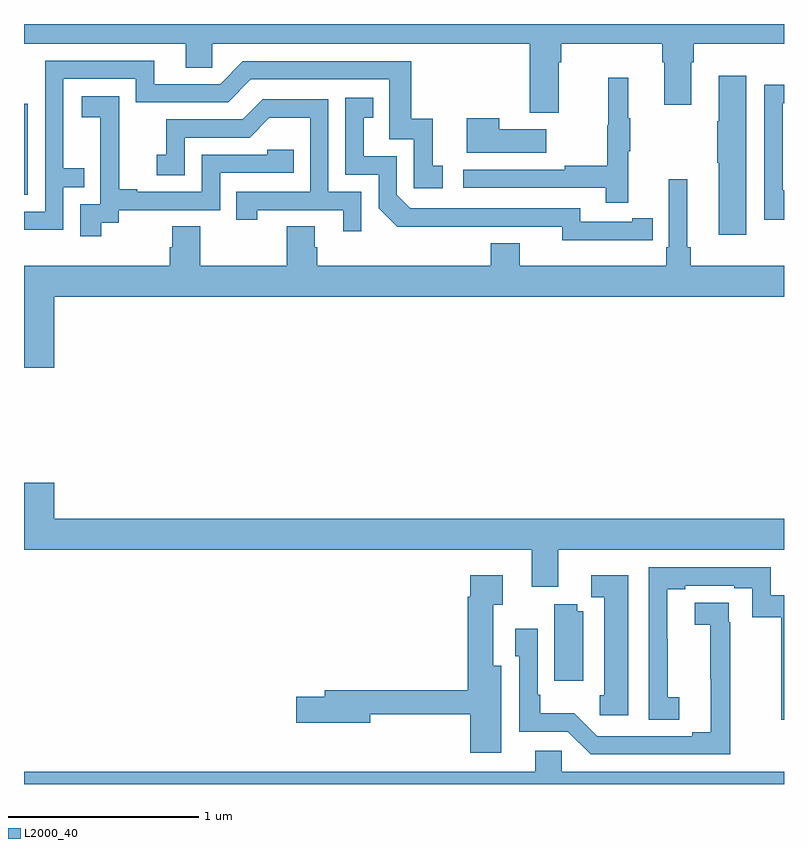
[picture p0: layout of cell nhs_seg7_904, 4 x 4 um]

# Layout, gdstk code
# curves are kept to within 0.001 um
import gdstk
lib = gdstk.Library(unit=1e-6, precision=1e-09)
def R(c, l, rs):  # rectangles x0, y0, x1, y1
    for r in rs: c.add(gdstk.rectangle(r[:2], r[2:], *l))
def P(c, l, *ps):  # polygons
    for p in ps: c.add(gdstk.Polygon(p, *l))
L2000_40 = (2000, 40)

nhs_seg7_904 = lib.new_cell('nhs_seg7_904')
R(nhs_seg7_904, L2000_40, [(177,1053.102,177.021,1053.579)])
P(nhs_seg7_904, L2000_40, [(179.815,1053.8),(179.828,1053.8),(179.828,1053.896),(180.359,1053.896),(180.359,1053.8),(180.371,1053.8),(180.371,1053.576),(180.511,1053.576),(180.511,1053.8),(180.524,1053.8),(180.524,1053.896),(181,1053.896),(181,1054),(177,1054),(177,1053.896),(177.851,1053.896),(177.851,1053.769),(177.99,1053.769),(177.99,1053.896),(179.663,1053.896),(179.663,1053.534),(179.815,1053.534)],
  [(177.207,1053.141),(177.317,1053.141),(177.317,1053.242),(177.207,1053.242),(177.207,1053.711),(177.588,1053.711),(177.588,1053.588),(178.074,1053.588),(178.194,1053.708),(178.923,1053.708),(178.923,1053.393),(179.052,1053.393),(179.052,1053.135),(179.203,1053.135),(179.203,1053.255),(179.15,1053.255),(179.15,1053.502),(179.039,1053.502),(179.039,1053.804),(178.152,1053.804),(178.032,1053.684),(177.685,1053.684),(177.685,1053.807),(177.111,1053.807),(177.111,1053.012),(177,1053.012),(177,1052.916),(177.207,1052.916)],
  [(180.802,1053.727),(180.656,1053.727),(180.656,1053.488),(180.649,1053.488),(180.649,1053.271),(180.656,1053.271),(180.656,1052.892),(180.802,1052.892)],
  [(180.179,1053.331),(180.19,1053.331),(180.19,1053.505),(180.179,1053.505),(180.179,1053.718),(180.076,1053.718),(180.076,1053.468),(180.069,1053.468),(180.069,1053.254),(179.845,1053.254),(179.845,1053.234),(179.313,1053.234),(179.313,1053.138),(180.061,1053.138),(180.061,1053.06),(180.179,1053.06)],
  [(181,1053.126),(180.993,1053.126),(180.993,1053.582),(181,1053.582),(181,1053.68),(180.897,1053.68),(180.897,1052.97),(181,1052.97)],
  [(177.406,1052.953),(177.498,1052.953),(177.498,1053.021),(178.032,1053.021),(178.032,1053.216),(178.421,1053.216),(178.421,1053.339),(178.281,1053.339),(178.281,1053.312),(177.936,1053.312),(177.936,1053.117),(177.595,1053.117),(177.595,1053.13),(177.5,1053.13),(177.5,1053.413),(177.501,1053.413),(177.501,1053.619),(177.303,1053.619),(177.303,1053.509),(177.401,1053.509),(177.401,1053.281),(177.402,1053.281),(177.402,1053.051),(177.297,1053.051),(177.297,1052.883),(177.406,1052.883)],
  [(180.2,1052.862),(180.308,1052.862),(180.308,1052.978),(180.2,1052.978),(180.2,1052.958),(179.928,1052.958),(179.928,1053.03),(179.034,1053.03),(178.962,1053.102),(178.962,1053.303),(178.789,1053.303),(178.789,1053.507),(178.838,1053.507),(178.838,1053.613),(178.692,1053.613),(178.692,1053.207),(178.866,1053.207),(178.866,1053.03),(178.964,1052.933),(179.832,1052.934),(179.832,1052.861)],
  [(178.776,1053.117),(178.602,1053.117),(178.602,1053.603),(178.256,1053.603),(178.151,1053.498),(177.748,1053.498),(177.748,1053.313),(177.699,1053.313),(177.699,1053.204),(177.846,1053.204),(177.846,1053.402),(178.188,1053.402),(178.292,1053.506),(178.506,1053.506),(178.506,1053.117),(178.117,1053.117),(178.117,1052.97),(178.228,1052.97),(178.228,1053.021),(178.679,1053.021),(178.679,1052.91),(178.776,1052.91)],
  [(179.749,1053.445),(179.501,1053.445),(179.501,1053.505),(179.33,1053.505),(179.33,1053.323),(179.749,1053.323)],
  [(181,1052.728),(180.509,1052.728),(180.509,1052.824),(180.49,1052.824),(180.49,1053.184),(180.393,1053.184),(180.393,1052.824),(180.38,1052.824),(180.38,1052.728),(179.608,1052.728),(179.608,1052.845),(179.456,1052.845),(179.456,1052.728),(178.544,1052.728),(178.544,1052.826),(178.531,1052.826),(178.531,1052.936),(178.384,1052.936),(178.384,1052.728),(177.927,1052.728),(177.927,1052.936),(177.779,1052.936),(177.779,1052.826),(177.767,1052.826),(177.767,1052.728),(177,1052.728),(177,1052.19),(177.16,1052.19),(177.16,1052.564),(181,1052.564)],
  [(179.812,1051.232),(181,1051.232),(181,1051.396),(177.16,1051.396),(177.16,1051.585),(177,1051.585),(177,1051.232),(179.672,1051.232),(179.672,1051.038),(179.812,1051.038)],
  [(180.448,1050.457),(180.387,1050.457),(180.387,1050.761),(180.385,1050.761),(180.385,1051.024),(180.481,1051.024),(180.481,1051.044),(180.737,1051.044),(180.737,1051.03),(180.834,1051.03),(180.834,1050.877),(180.985,1050.877),(180.985,1050.339),(181,1050.339),(181,1050.994),(180.93,1050.994),(180.93,1051.14),(180.288,1051.14),(180.288,1050.337),(180.448,1050.337)],
  [(180.181,1051.099),(179.985,1051.099),(179.985,1050.984),(180.053,1050.984),(180.053,1050.468),(180.031,1050.468),(180.031,1050.363),(180.181,1050.363)],
  [(179.512,1050.622),(179.47,1050.622),(179.47,1050.943),(179.521,1050.943),(179.521,1051.099),(179.348,1051.099),(179.348,1050.986),(179.336,1050.986),(179.336,1050.494),(178.583,1050.494),(178.583,1050.458),(178.434,1050.458),(178.434,1050.323),(178.822,1050.323),(178.822,1050.366),(179.348,1050.366),(179.348,1050.165),(179.512,1050.165)],
  [(180.716,1050.851),(180.71,1050.851),(180.71,1050.953),(180.531,1050.953),(180.531,1050.838),(180.613,1050.838),(180.614,1050.272),(180.518,1050.272),(180.518,1050.252),(180.018,1050.252),(179.897,1050.373),(179.716,1050.373),(179.716,1050.469),(179.703,1050.469),(179.703,1050.817),(179.586,1050.817),(179.586,1050.672),(179.607,1050.672),(179.607,1050.276),(179.862,1050.276),(179.982,1050.156),(180.716,1050.156)],
  [(179.944,1050.91),(179.912,1050.91),(179.912,1050.947),(179.792,1050.947),(179.792,1050.543),(179.944,1050.543)],
  [(181,1050.064),(179.829,1050.064),(179.829,1050.174),(179.69,1050.174),(179.69,1050.064),(177,1050.064),(177,1050),(181,1050)])

lib.write_gds('nhs_seg7_904.gds')
